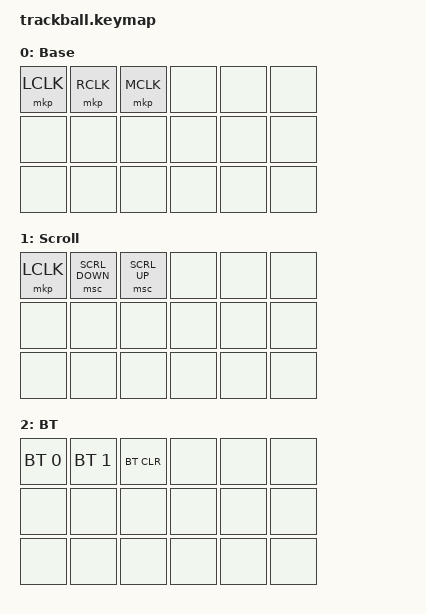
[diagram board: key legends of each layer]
/*
 * Copyright (c) 2020 The ZMK Contributors
 *
 * SPDX-License-Identifier: MIT
 */

#include <behaviors.dtsi>
#include <dt-bindings/zmk/bt.h>
#include <dt-bindings/zmk/outputs.h>
#include <dt-bindings/zmk/pointing.h>

/ {
    combos {
        compatible = "zmk,combos";

        Bootlader {
            bindings = <&bootloader>;
            key-positions = <0 1>;
        };

        BT {
            bindings = <&tog 2>;
            key-positions = <0 1 2>;
        };

        Scroll {
            bindings = <&tog 1>;
            key-positions = <1 2>;
        };

        Out {
            bindings = <&out OUT_TOG>;
            key-positions = <0 2>;
        };
    };

    keymap {
        compatible = "zmk,keymap";

        default_layer {
            bindings = <
                &mkp LCLK &mkp RCLK &mkp MCLK &none &none &none
                &none     &none     &none     &none &none &none
                &none     &none     &none     &none &none &none
            >;
            
            label = "Base";
        };
		
		layer_1 {
            bindings = <
		&mkp LCLK &msc SCRL_DOWN &msc SCRL_UP &none &none &none
                &none     &none          &none        &none &none &none
                &none     &none          &none        &none &none &none
            >;

            label = "Scroll";
        };
		
		layer_2 {
            bindings = <
		&bt BT_SEL 0 &bt BT_SEL 1 &bt BT_CLR &none &none &none
                &none        &none        &none      &none &none &none
                &none        &none        &none      &none &none &none
            >;

            label = "BT";
        };
    };
};	
